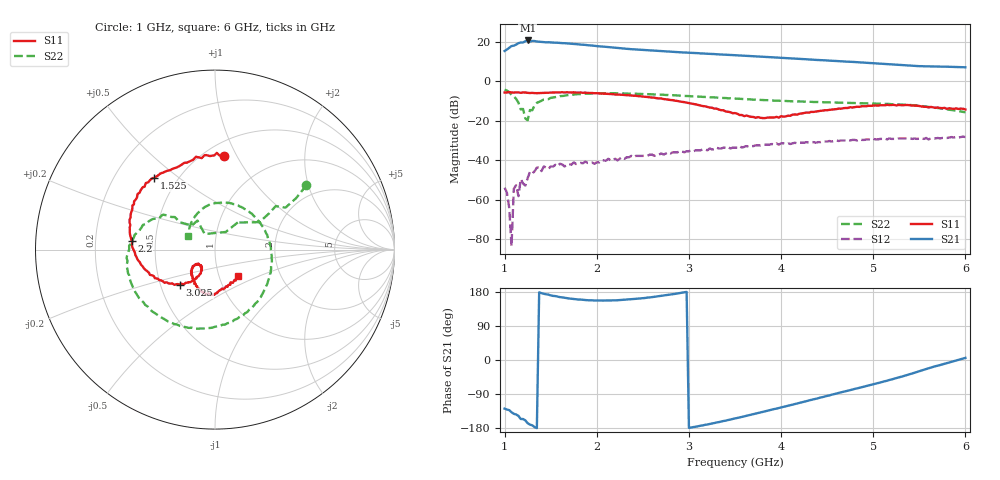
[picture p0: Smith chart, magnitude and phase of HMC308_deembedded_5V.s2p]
!Hittite Microwave Corporation
!12 Elizabeth Drive
!Chelmsford Massachusetts 01824
!Tel: 978 250-3343
!Fax: 978 250-3373
!Device: HMC308, 1.3-3 GHz GaAs Amplifier
!Misc: Vdd =  5V, ROOM TEMP , DEEMBEDDED TO THE PINS OF THE DEVICE
# MHZ S MA R 50
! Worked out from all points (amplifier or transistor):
!   201 points, 1 GHz to 6 GHz, reference 50 ohm
!   highest |S21| = 20.8 dB at 1.25 GHz (marker M1)
!   |S21| within 3 dB of that: 1.071 GHz to 2.035 GHz (964.6 MHz wide, 62.1 % of centre)
!   unconditionally stable (mu >= 1): start of sweep to end of sweep
!   at 1.825 GHz: K = 4.02, MAG = 21.0 dB, |S12| = -41.3 dB
!   at 3.5 GHz: K = 4.40, MAG = 14.0 dB, |S12| = -33.6 dB
!   at 6 GHz: K = 5.32, MAG = 7.5 dB, |S12| = -28.2 dB
!   S11 on the Smith chart (normalised r, x): 1 GHz: 0.62, +0.89; 1.525 GHz: 0.37, +0.41; 2.2 GHz: 0.36, +0.05; 3.025 GHz: 0.63, -0.27; 6 GHz: 1.23, -0.38
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1000  0.524 84.5  5.939 -128.3  0.002038 11.2  0.623 35.4
1050  0.539 88.9  7.126 -132.3  0.0006293 -39.9  0.535 32.4
1075  0.525 90.4  7.882 -137.7  6.693e-05 -47.3  0.457 30.8
1100  0.522 93.1  8.078 -141.9  0.001909 -90.8  0.416 35.6
1150  0.529 96.3  9.346 -147.5  0.001241 -18.0  0.291 31.7
1175  0.515 98.3  9.722 -155.7  0.003325 -37.7  0.195 50.5
1200  0.528 101.6  9.701 -155.8  0.002614 -41.4  0.201 49.8
1225  0.525 102.1  10.49 -159.4  0.002288 -54.1  0.115 58.6
1250  0.515 103.7  10.94 -166.6  0.003558 -19.7  0.104 123.6
1275  0.509 107.9  10.22 -170.5  0.005117 -37.6  0.189 121.2
1300  0.513 109.3  10.61 -172.4  0.004636 -46.2  0.186 133.9
1350  0.505 114.6  10.3 -179.8  0.006535 -45.9  0.288 141.0
1525  0.523 130.3  9.672 169.2  0.006959 -45.8  0.392 154.9
1850  0.517 150.9  8.529 158.8  0.00845 -39.7  0.483 -178.4
2200  0.467 173.9  7.136 157.3  0.011 -16.4  0.503 -151.3
2675  0.371 -156.2  5.911 168.3  0.014 14.4  0.464 -112.8
3025  0.276 -134.8  5.308 -178.2  0.018 40.0  0.421 -84.4
3500  0.158 -121.1  4.616 -154.4  0.021 80.8  0.368 -47.5
3925  0.122 -139.7  4.072 -129.5  0.025 113.4  0.327 -17.3
4350  0.169 -140.2  3.558 -103.9  0.029 152.6  0.302 12.1
5175  0.252 -101.2  2.72 -52.7  0.036 -139.9  0.269 77.2
6000  0.195 -49.4  2.287 5.6  0.039 -66.1  0.165 153.7
